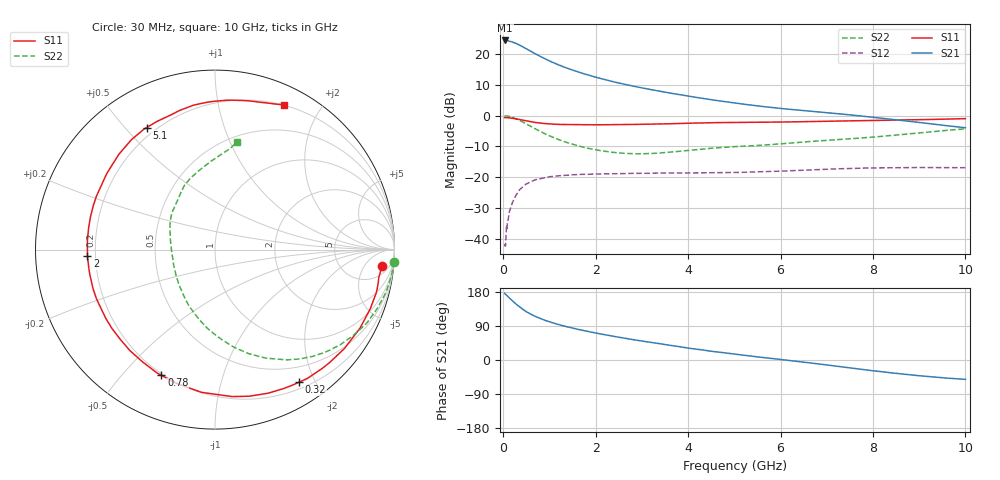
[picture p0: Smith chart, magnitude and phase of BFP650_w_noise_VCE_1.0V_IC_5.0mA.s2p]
! Infineon Technologies  Discrete & RF Semiconductors
! BFP650
! VCE =  1.0 V,  IC =  5.0 mA
! Common Emitter S-Parameters:  Jan 2016
# GHz  S  MA  R  50
!  f  S11  S21  S12  S22
! GHz  MAG  ANG  MAG  ANG  MAG  ANG  MAG  ANG
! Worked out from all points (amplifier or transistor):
!   229 points, 30 MHz to 10 GHz, reference 50 ohm
!   highest |S21| = 24.4 dB at 40 MHz (marker M1)
!   |S21| within 3 dB of that: start of sweep to 535.2 MHz
!   unconditionally stable (mu >= 1): 4.287 GHz to end of sweep
!   at 280 MHz: K = 0.07, MSG = 24.6 dB, |S12| = -25.8 dB
!   at 1.78 GHz: K = 0.50, MSG = 16.3 dB, |S12| = -19.1 dB
!   at 10 GHz: K = 1.10, MAG = 4.5 dB, |S12| = -16.9 dB
!   lowest NFmin = 0.58 dB at 450 MHz
!   S11 on the Smith chart (normalised r, x): 30 MHz: 10, -14; 320 MHz: 0.28, -1.78; 780 MHz: 0.19, -0.64; 2 GHz: 0.17, -0.02; 5.1 GHz: 0.17, +0.57; 10 GHz: 0.19, +1.57
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0.03  0.9332 -5.6  16.52 176.0  0.0082 79.5  0.9983 -3.9
0.04  0.9297 -7.7  16.65 174.6  0.0077 88.6  0.997 -5.3
0.11  0.9257 -20.9  16.45 166.4  0.0214 78.4  0.9798 -14.5
0.2  0.9076 -37.4  15.71 156.0  0.0388 70.3  0.9402 -25.7
0.26  0.892 -47.8  15.1 149.4  0.0486 64.1  0.9017 -32.7
0.32  0.8747 -57.6  14.38 143.4  0.0575 59.5  0.8618 -39.3
0.4  0.8528 -69.8  13.41 135.8  0.0675 54.1  0.8059 -47.6
0.5  0.8243 -83.4  12.21 127.6  0.0778 47.0  0.7345 -56.8
0.6  0.7988 -95.4  11.07 120.6  0.0852 41.3  0.667 -65.0
0.78  0.7615 -113.1  9.345 110.4  0.0943 33.5  0.565 -77.5
1  0.7357 -130.2  7.742 100.6  0.1019 26.1  0.4713 -90.4
1.2  0.723 -142.6  6.666 93.3  0.1057 21.3  0.4087 -101.0
1.42  0.7146 -153.9  5.771 86.4  0.1082 17.2  0.358 -111.4
1.7  0.7116 -166.0  4.907 78.8  0.1116 13.1  0.3119 -123.7
2  0.7116 -177.2  4.219 71.1  0.1131 9.3  0.2793 -136.1
2.6  0.7173 165.4  3.259 58.0  0.1148 4.3  0.2455 -159.8
3.4  0.7325 147.0  2.483 42.7  0.117 -0.9  0.2482 173.0
4  0.7543 135.2  2.078 31.4  0.1174 -4.4  0.2726 157.1
5.1  0.7794 119.3  1.573 14.2  0.1198 -8.2  0.3165 138.9
6.8  0.8074 100.7  1.155 -10.0  0.1333 -14.7  0.3881 117.0
8.4  0.8448 79.6  0.873 -33.9  0.1429 -25.3  0.4766 95.6
10  0.8942 64.5  0.637 -51.1  0.1429 -33.6  0.6111 78.5
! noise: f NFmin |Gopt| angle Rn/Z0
0.45  0.58  0.3  34  0.16
0.9  0.6  0.29  65  0.15
1.9  0.87  0.34  137  0.07
2.4  1.01  0.35  156  0.07
3.5  1.44  0.3  -144  0.31
